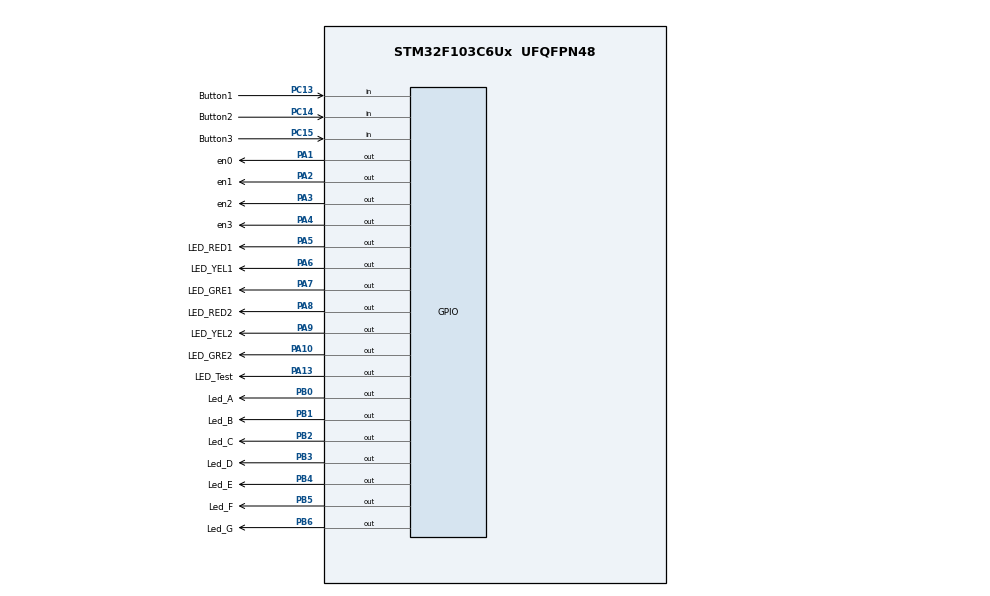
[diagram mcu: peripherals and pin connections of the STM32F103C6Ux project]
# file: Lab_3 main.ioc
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Mcu.Family=STM32F1
Mcu.Name=STM32F103C6Ux
Mcu.Package=UFQFPN48
NVIC.PriorityGroup=NVIC_PRIORITYGROUP_4
NVIC.TIM2_IRQn=true\:0\:0\:false\:false\:true\:true\:true
PA1.GPIO_Label=en0
PA1.Signal=GPIO_Output
PA10.GPIO_Label=LED_GRE2
PA10.Signal=GPIO_Output
PA13.GPIO_Label=LED_Test
PA13.Signal=GPIO_Output
PA2.GPIO_Label=en1
PA2.Signal=GPIO_Output
PA3.GPIO_Label=en2
PA3.Signal=GPIO_Output
PA4.GPIO_Label=en3
PA4.Signal=GPIO_Output
PA5.GPIO_Label=LED_RED1
PA5.Signal=GPIO_Output
PA6.GPIO_Label=LED_YEL1
PA6.Signal=GPIO_Output
PA7.GPIO_Label=LED_GRE1
PA7.Signal=GPIO_Output
PA8.GPIO_Label=LED_RED2
PA8.Signal=GPIO_Output
PA9.GPIO_Label=LED_YEL2
PA9.Signal=GPIO_Output
PB0.GPIO_Label=Led_A
PB0.Signal=GPIO_Output
PB1.GPIO_Label=Led_B
PB1.Signal=GPIO_Output
PB2.GPIO_Label=Led_C
PB2.Signal=GPIO_Output
PB3.GPIO_Label=Led_D
PB3.Signal=GPIO_Output
PB4.GPIO_Label=Led_E
PB4.Signal=GPIO_Output
PB5.GPIO_Label=Led_F
PB5.Signal=GPIO_Output
PB6.GPIO_Label=Led_G
PB6.Signal=GPIO_Output
PC13-TAMPER-RTC.GPIO_Label=Button1
PC13-TAMPER-RTC.GPIO_PuPd=GPIO_PULLUP
PC13-TAMPER-RTC.Signal=GPIO_Input
PC14-OSC32_IN.GPIO_Label=Button2
PC14-OSC32_IN.GPIO_PuPd=GPIO_PULLUP
PC14-OSC32_IN.Signal=GPIO_Input
PC15-OSC32_OUT.GPIO_Label=Button3
PC15-OSC32_OUT.GPIO_PuPd=GPIO_PULLUP
PC15-OSC32_OUT.Signal=GPIO_Input
ProjectManager.HeapSize=0x200
ProjectManager.StackSize=0x400
ProjectManager.TargetToolchain=STM32CubeIDE
RCC.APB1Freq_Value=8000000
RCC.APB2Freq_Value=8000000
TIM2.Period=9
TIM2.Prescaler=7999
VP_SYS_VS_ND.Mode=No_Debug
VP_TIM2_VS_ClockSourceINT.Mode=Internal
board=custom

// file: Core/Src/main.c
/* USER CODE BEGIN Header */
/**
  ******************************************************************************
  * @file           : main.c
  * @brief          : Main program body
  ******************************************************************************
  * @attention
  *
  * <h2><center>&copy; Copyright (c) 2023 STMicroelectronics.
  * All rights reserved.</center></h2>
  *
  * This software component is licensed by ST under BSD 3-Clause license,
  * the "License"; You may not use this file except in compliance with the
  * License. You may obtain a copy of the License at:
  *                        opensource.org/licenses/BSD-3-Clause
  *
  ******************************************************************************
  */
/* USER CODE END Header */
#include "main.h"
#include "fsm_automatic.h"
#include "fsm_manual.h"

TIM_HandleTypeDef htim2;

void SystemClock_Config(void);
static void MX_TIM2_Init(void);
static void MX_GPIO_Init(void);

int main(void)
{

  /* MCU Configuration--------------------------------------------------------*/

  /* Reset of all peripherals, Initializes the Flash interface and the Systick. */
  HAL_Init();

  /* Configure the system clock */
  SystemClock_Config();

  /* Initialize all configured peripherals */
  MX_TIM2_Init();
  MX_GPIO_Init();

  /* Infinite loop */
  /* USER CODE BEGIN WHILE */
  HAL_TIM_Base_Start_IT(&htim2);
  status1 = INIT;
  status2 = INIT;
  int led_idx = 0;
  HAL_GPIO_WritePin(en0_GPIO_Port, en0_Pin, SET);
  HAL_GPIO_WritePin(en1_GPIO_Port, en1_Pin, SET);
  HAL_GPIO_WritePin(en2_GPIO_Port, en2_Pin, SET);
  HAL_GPIO_WritePin(en3_GPIO_Port, en3_Pin, SET);
  setTimer4(10);
  HAL_GPIO_WritePin(LED_Test_GPIO_Port, LED_Test_Pin, SET);
  while (1)
  {
    /* USER CODE END WHILE */
	  fsm_automatic1_run();
	  fsm_automatic2_run();
	  fsm_manual_run();
//	  if (isButton2Pressed() == 1){
//		  HAL_GPIO_TogglePin(LED_Test_GPIO_Port, LED_Test_Pin);
//		  isButton2Pressed();
//	  }
//	  if (isButton3Pressed() == 1){
//	  		  HAL_GPIO_TogglePin(LED_Test_GPIO_Port, LED_Test_Pin);
//	  		  isButton3Pressed();
//	  	  }
	  if (timer4_flag == 1){
		  setTimer4(10);
		  if (led_idx >= 4) led_idx = 0;
		  	  scanled(led_idx);
		  	  led_idx++;
	  }
  }
}

void SystemClock_Config(void)
{
  RCC_OscInitTypeDef RCC_OscInitStruct = {0};
  RCC_ClkInitTypeDef RCC_ClkInitStruct = {0};

  /** Initializes the RCC Oscillators according to the specified parameters
  * in the RCC_OscInitTypeDef structure.
  */
  RCC_OscInitStruct.OscillatorType = RCC_OSCILLATORTYPE_HSI;
  RCC_OscInitStruct.HSIState = RCC_HSI_ON;
  RCC_OscInitStruct.HSICalibrationValue = RCC_HSICALIBRATION_DEFAULT;
  RCC_OscInitStruct.PLL.PLLState = RCC_PLL_NONE;
  if (HAL_RCC_OscConfig(&RCC_OscInitStruct) != HAL_OK)
  {
    Error_Handler();
  }
  /** Initializes the CPU, AHB and APB buses clocks
  */
  RCC_ClkInitStruct.ClockType = RCC_CLOCKTYPE_HCLK|RCC_CLOCKTYPE_SYSCLK
                              |RCC_CLOCKTYPE_PCLK1|RCC_CLOCKTYPE_PCLK2;
  RCC_ClkInitStruct.SYSCLKSource = RCC_SYSCLKSOURCE_HSI;
  RCC_ClkInitStruct.AHBCLKDivider = RCC_SYSCLK_DIV1;
  RCC_ClkInitStruct.APB1CLKDivider = RCC_HCLK_DIV1;
  RCC_ClkInitStruct.APB2CLKDivider = RCC_HCLK_DIV1;

  if (HAL_RCC_ClockConfig(&RCC_ClkInitStruct, FLASH_LATENCY_0) != HAL_OK)
  {
    Error_Handler();
  }
}

static void MX_TIM2_Init(void)
{

  TIM_ClockConfigTypeDef sClockSourceConfig = {0};
  TIM_MasterConfigTypeDef sMasterConfig = {0};

  htim2.Instance = TIM2;
  htim2.Init.Prescaler = 7999;
  htim2.Init.CounterMode = TIM_COUNTERMODE_UP;
  htim2.Init.Period = 9;
  htim2.Init.ClockDivision = TIM_CLOCKDIVISION_DIV1;
  htim2.Init.AutoReloadPreload = TIM_AUTORELOAD_PRELOAD_DISABLE;
  if (HAL_TIM_Base_Init(&htim2) != HAL_OK)
  {
    Error_Handler();
  }
  sClockSourceConfig.ClockSource = TIM_CLOCKSOURCE_INTERNAL;
  if (HAL_TIM_ConfigClockSource(&htim2, &sClockSourceConfig) != HAL_OK)
  {
    Error_Handler();
  }
  sMasterConfig.MasterOutputTrigger = TIM_TRGO_RESET;
  sMasterConfig.MasterSlaveMode = TIM_MASTERSLAVEMODE_DISABLE;
  if (HAL_TIMEx_MasterConfigSynchronization(&htim2, &sMasterConfig) != HAL_OK)
  {
    Error_Handler();
  }

}

static void MX_GPIO_Init(void)
{
  GPIO_InitTypeDef GPIO_InitStruct = {0};

  /* GPIO Ports Clock Enable */
  __HAL_RCC_GPIOC_CLK_ENABLE();
  __HAL_RCC_GPIOA_CLK_ENABLE();
  __HAL_RCC_GPIOB_CLK_ENABLE();

  /*Configure GPIO pin Output Level */
  HAL_GPIO_WritePin(GPIOA, en0_Pin|en1_Pin|en2_Pin|en3_Pin
                          |LED_RED1_Pin|LED_YEL1_Pin|LED_GRE1_Pin|LED_RED2_Pin
                          |LED_YEL2_Pin|LED_GRE2_Pin|LED_Test_Pin, GPIO_PIN_RESET);

  /*Configure GPIO pin Output Level */
  HAL_GPIO_WritePin(GPIOB, Led_A_Pin|Led_B_Pin|Led_C_Pin|Led_D_Pin
                          |Led_E_Pin|Led_F_Pin|Led_G_Pin, GPIO_PIN_RESET);

  /*Configure GPIO pins : Button1_Pin Button2_Pin Button3_Pin */
  GPIO_InitStruct.Pin = Button1_Pin|Button2_Pin|Button3_Pin;
  GPIO_InitStruct.Mode = GPIO_MODE_INPUT;
  GPIO_InitStruct.Pull = GPIO_PULLUP;
  HAL_GPIO_Init(GPIOC, &GPIO_InitStruct);

  /*Configure GPIO pins : en0_Pin en1_Pin en2_Pin en3_Pin
                           LED_RED1_Pin LED_YEL1_Pin LED_GRE1_Pin LED_RED2_Pin
                           LED_YEL2_Pin LED_GRE2_Pin LED_Test_Pin */
  GPIO_InitStruct.Pin = en0_Pin|en1_Pin|en2_Pin|en3_Pin
                          |LED_RED1_Pin|LED_YEL1_Pin|LED_GRE1_Pin|LED_RED2_Pin
                          |LED_YEL2_Pin|LED_GRE2_Pin|LED_Test_Pin;
  GPIO_InitStruct.Mode = GPIO_MODE_OUTPUT_PP;
  GPIO_InitStruct.Pull = GPIO_NOPULL;
  GPIO_InitStruct.Speed = GPIO_SPEED_FREQ_LOW;
  HAL_GPIO_Init(GPIOA, &GPIO_InitStruct);

  /*Configure GPIO pins : Led_A_Pin Led_B_Pin Led_C_Pin Led_D_Pin
                           Led_E_Pin Led_F_Pin Led_G_Pin */
  GPIO_InitStruct.Pin = Led_A_Pin|Led_B_Pin|Led_C_Pin|Led_D_Pin
                          |Led_E_Pin|Led_F_Pin|Led_G_Pin;
  GPIO_InitStruct.Mode = GPIO_MODE_OUTPUT_PP;
  GPIO_InitStruct.Pull = GPIO_NOPULL;
  GPIO_InitStruct.Speed = GPIO_SPEED_FREQ_LOW;
  HAL_GPIO_Init(GPIOB, &GPIO_InitStruct);

}

/* USER CODE BEGIN 4 */
void HAL_TIM_PeriodElapsedCallback(TIM_HandleTypeDef *htim){
	timer1Run();
	timer2Run();
	timer3Run();
	timer4Run();
	timer5Run();
	getKeyInput1();
	getKeyInput2();
	getKeyInput3();
	update_buffer();
}
/* USER CODE END 4 */

void Error_Handler(void)
{
  __disable_irq();
  while (1)
  {
  }
}

/************************ (C) COPYRIGHT STMicroelectronics *****END OF FILE****/
